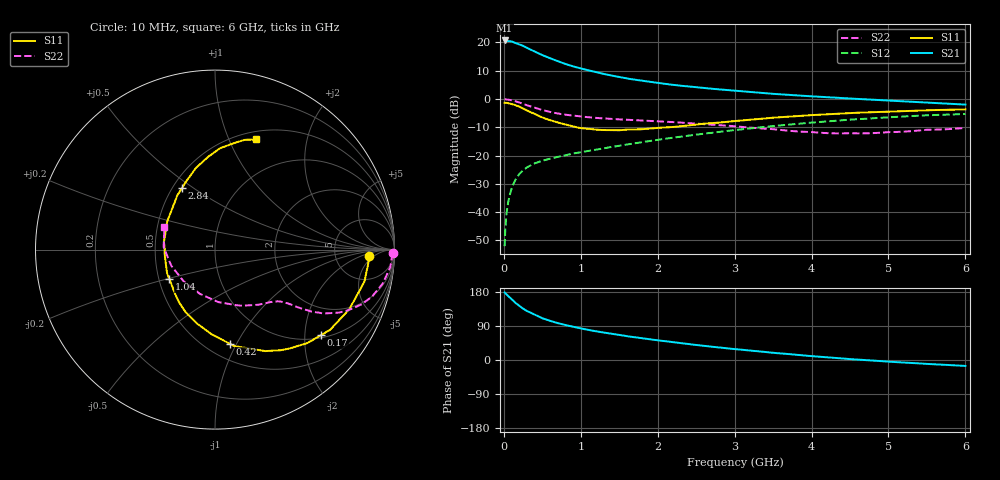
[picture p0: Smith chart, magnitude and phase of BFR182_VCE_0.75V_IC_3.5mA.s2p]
! Infineon Technologies  Discrete & RF Semiconductors
! BFR182
! VCE = 0.75 V,  IC =  3.5 mA
! Common Emitter S-Parameters:  Nov 2015
# GHz  S  MA  R  50
!  f  S11  S21  S12  S22
! GHz  MAG  ANG  MAG  ANG  MAG  ANG  MAG  ANG
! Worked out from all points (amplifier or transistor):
!   210 points, 10 MHz to 6 GHz, reference 50 ohm
!   highest |S21| = 20.7 dB at 10 MHz (marker M1)
!   |S21| within 3 dB of that: start of sweep to 329.3 MHz
!   unconditionally stable (mu >= 1): 1.142 GHz to 3.338 GHz
!   at 185 MHz: K = 0.27, MSG = 23.3 dB, |S12| = -27.1 dB
!   at 1.52 GHz: K = 1.08, MAG = 10.3 dB, |S12| = -16.4 dB
!   at 6 GHz: K = 0.94, MSG = 1.7 dB, |S12| = -5.3 dB
!   S11 on the Smith chart (normalised r, x): 10 MHz: 12, -3; 170 MHz: 1.08, -2.42; 420 MHz: 0.64, -0.94; 1.04 GHz: 0.57, -0.20; 2.84 GHz: 0.56, +0.45; 6 GHz: 0.59, +1.27
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0.01  0.8588 -2.5  10.85 178.2  0.0025 91.6  0.9898 -1.2
0.04  0.8524 -9.5  10.63 172.1  0.0107 84.3  0.9827 -4.7
0.1  0.8189 -23.9  10.45 160.6  0.0259 77.4  0.9529 -11.5
0.15  0.7819 -34.8  9.824 151.0  0.0372 71.6  0.9142 -16.6
0.17  0.7592 -38.8  9.6 147.9  0.0411 69.6  0.8959 -18.2
0.2  0.7326 -45.3  9.318 143.1  0.047 67.2  0.8697 -20.6
0.26  0.6698 -56.8  8.589 134.3  0.0562 62.2  0.8113 -24.7
0.3  0.6313 -63.6  8.033 129.3  0.0618 60.2  0.7752 -26.9
0.42  0.5308 -81.1  6.713 117.8  0.0744 55.4  0.6885 -30.9
0.5  0.4725 -92.2  5.976 110.1  0.081 53.6  0.6391 -32.7
0.6  0.4233 -103.9  5.263 103.3  0.0879 52.6  0.589 -34.1
0.7  0.3862 -114.9  4.669 97.4  0.0948 52.2  0.5538 -35.1
0.82  0.3485 -126.4  4.085 91.3  0.1029 51.7  0.524 -35.8
1.02  0.3041 -145.6  3.419 82.5  0.1157 52.4  0.4884 -37.2
1.04  0.3021 -147.5  3.367 81.7  0.1171 52.5  0.4854 -37.3
1.4  0.2814 -175.5  2.595 69.2  0.1415 53.8  0.4445 -40.6
2.02  0.3105 148.1  1.913 51.4  0.1915 53.9  0.4029 -48.5
2.84  0.3878 118.4  1.463 32.2  0.2671 50.2  0.3434 -65.4
3.1  0.4182 111.7  1.363 26.9  0.2922 48.0  0.3206 -72.5
4.1  0.5278 92.6  1.096 8.8  0.3922 37.9  0.254 -113.8
5.1  0.6063 79.2  0.924 -5.5  0.4835 25.5  0.2614 -164.6
6  0.6555 69.4  0.798 -15.7  0.5436 12.7  0.3078 156.4
